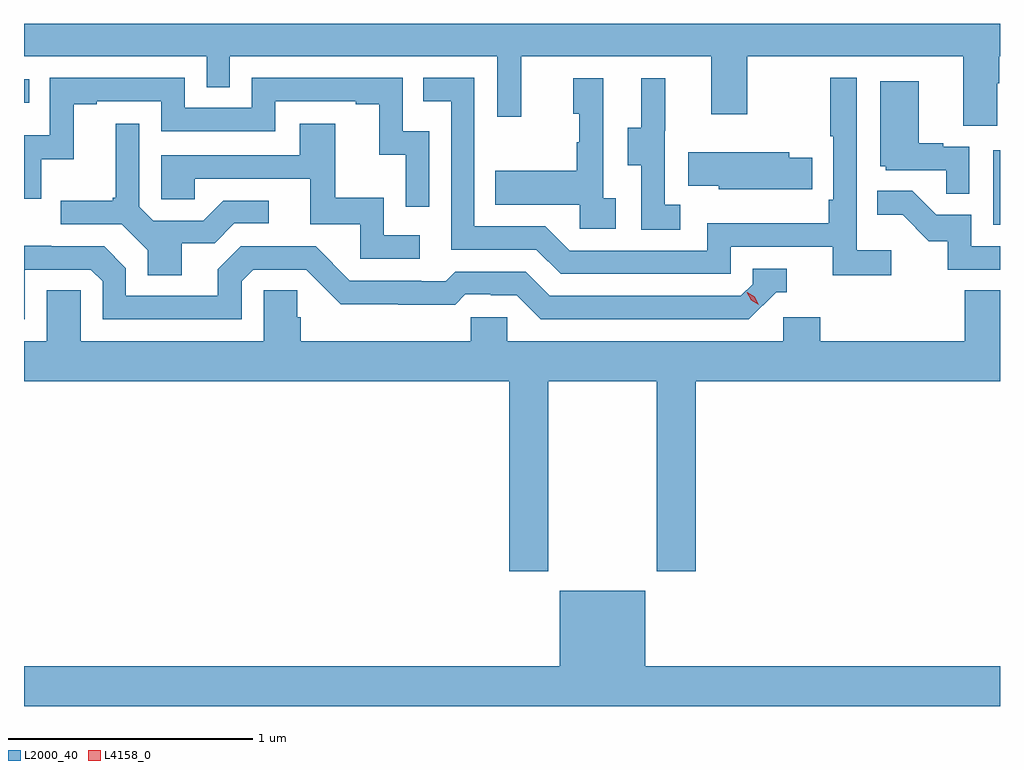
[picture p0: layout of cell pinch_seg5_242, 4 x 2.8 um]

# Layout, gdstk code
import gdstk
lib = gdstk.Library(unit=1e-6, precision=1e-09)
def R(c, l, rs):  # rectangles x0, y0, x1, y1
    for r in rs: c.add(gdstk.rectangle(r[:2], r[2:], *l))
def P(c, l, *ps):  # polygons
    for p in ps: c.add(gdstk.Polygon(p, *l))
L2000_40 = (2000, 40)
L4158_0 = (4158, 0)

pinch_seg5_242 = lib.new_cell('pinch_seg5_242')
R(pinch_seg5_242, L2000_40, [(940.808,914.676,940.836,914.983), (936.836,915.176,936.857,915.273)])
P(pinch_seg5_242, L2000_40, [(940.825,915.256),(940.833,915.256),(940.833,915.368),(940.836,915.368),(940.836,915.5),(936.836,915.5),(936.836,915.368),(937.584,915.368),(937.584,915.241),(937.68,915.241),(937.68,915.368),(938.775,915.368),(938.775,915.12),(938.873,915.12),(938.873,915.368),(939.653,915.368),(939.653,915.129),(939.801,915.129),(939.801,915.368),(940.685,915.368),(940.685,915.082),(940.825,915.082)],
  [(940.39,914.572),(940.248,914.572),(940.248,915.28),(940.14,915.28),(940.14,915.04),(940.152,915.04),(940.152,914.779),(940.135,914.779),(940.135,914.683),(939.636,914.683),(939.636,914.571),(939.072,914.571),(938.973,914.67),(938.682,914.67),(938.682,915.279),(938.473,915.279),(938.473,915.183),(938.586,915.183),(938.586,914.574),(938.936,914.574),(939.035,914.475),(939.732,914.475),(939.732,914.586),(940.151,914.586),(940.151,914.47),(940.39,914.47)],
  [(938.496,915.06),(938.388,915.06),(938.388,915.279),(937.77,915.279),(937.77,915.156),(937.494,915.156),(937.494,915.279),(936.942,915.279),(936.942,915.043),(936.836,915.043),(936.836,914.784),(936.906,914.784),(936.906,914.945),(937.039,914.945),(937.039,915.171),(937.135,915.171),(937.135,915.183),(937.398,915.183),(937.398,915.06),(937.866,915.06),(937.866,915.183),(938.195,915.183),(938.195,915.171),(938.291,915.171),(938.291,914.963),(938.4,914.963),(938.4,914.751),(938.496,914.751)],
  [(939.262,914.786),(939.21,914.786),(939.21,915.277),(939.086,915.277),(939.086,915.132),(939.112,915.132),(939.112,915.014),(939.102,915.014),(939.102,914.899),(938.767,914.899),(938.767,914.759),(939.114,914.759),(939.114,914.661),(939.262,914.661)],
  [(939.526,914.759),(939.462,914.759),(939.462,915.063),(939.464,915.063),(939.464,915.277),(939.365,915.277),(939.365,915.075),(939.311,915.075),(939.311,914.92),(939.366,914.92),(939.366,914.656),(939.526,914.656)],
  [(940.71,914.997),(940.604,914.997),(940.604,915.01),(940.504,915.01),(940.504,915.265),(940.346,915.265),(940.346,914.916),(940.368,914.916),(940.368,914.901),(940.615,914.901),(940.615,914.803),(940.71,914.803)],
  [(937.483,914.602),(937.618,914.602),(937.698,914.682),(937.84,914.682),(937.84,914.775),(937.652,914.775),(937.571,914.694),(937.365,914.694),(937.308,914.751),(937.308,915.091),(937.211,915.091),(937.211,914.788),(937.2,914.788),(937.2,914.776),(936.987,914.776),(936.987,914.679),(937.236,914.679),(937.343,914.572),(937.343,914.47),(937.483,914.47)],
  [(938.458,914.634),(938.31,914.634),(938.31,914.788),(938.111,914.788),(938.111,915.091),(937.967,915.091),(937.967,914.961),(937.398,914.961),(937.398,914.781),(937.535,914.781),(937.535,914.865),(938.009,914.865),(938.009,914.679),(938.214,914.679),(938.214,914.538),(938.458,914.538)],
  [(939.956,914.823),(940.067,914.823),(940.067,914.952),(939.973,914.952),(939.973,914.974),(939.559,914.974),(939.559,914.837),(939.684,914.837),(939.684,914.822),(939.956,914.822)],
  [(940.836,914.589),(940.719,914.589),(940.719,914.718),(940.575,914.718),(940.477,914.816),(940.333,914.816),(940.333,914.717),(940.437,914.717),(940.544,914.61),(940.621,914.61),(940.621,914.493),(940.836,914.493)],
  [(936.84,914.493),(937.11,914.493),(937.158,914.445),(937.158,914.289),(937.728,914.289),(937.728,914.445),(937.776,914.493),(937.992,914.493),(938.134,914.351),(938.37,914.351),(938.37,914.349),(938.603,914.349),(938.645,914.391),(938.748,914.391),(938.748,914.388),(938.855,914.388),(938.954,914.289),(939.807,914.289),(939.918,914.4),(939.961,914.4),(939.961,914.496),(939.822,914.496),(939.822,914.433),(939.774,914.385),(938.991,914.385),(938.892,914.484),(938.603,914.484),(938.564,914.445),(938.465,914.445),(938.465,914.448),(938.172,914.448),(938.031,914.589),(937.725,914.589),(937.631,914.495),(937.631,914.385),(937.254,914.385),(937.254,914.499),(937.164,914.589),(936.948,914.589),(936.948,914.591),(936.836,914.591),(936.836,914.289),(936.84,914.289)],
  [(938.985,914.036),(939.43,914.036),(939.43,913.257),(939.59,913.257),(939.59,914.036),(940.836,914.036),(940.836,914.408),(940.691,914.408),(940.691,914.2),(940.1,914.2),(940.1,914.298),(939.948,914.298),(939.948,914.2),(938.817,914.2),(938.817,914.298),(938.667,914.298),(938.667,914.2),(937.97,914.2),(937.97,914.298),(937.955,914.298),(937.955,914.408),(937.818,914.408),(937.818,914.2),(937.068,914.2),(937.068,914.408),(936.929,914.408),(936.929,914.2),(936.836,914.2),(936.836,914.036),(938.825,914.036),(938.825,913.257),(938.985,913.257)],
  [(940.836,912.868),(939.382,912.868),(939.382,913.177),(939.032,913.177),(939.032,912.868),(936.836,912.868),(936.836,912.704),(940.836,912.704)])
P(pinch_seg5_242, L4158_0, [(939.847,914.348),(939.816,914.368),(939.799,914.401),(939.799,914.401),(939.8,914.401),(939.831,914.381),(939.847,914.349),(939.847,914.348)])

lib.write_gds('pinch_seg5_242.gds')
